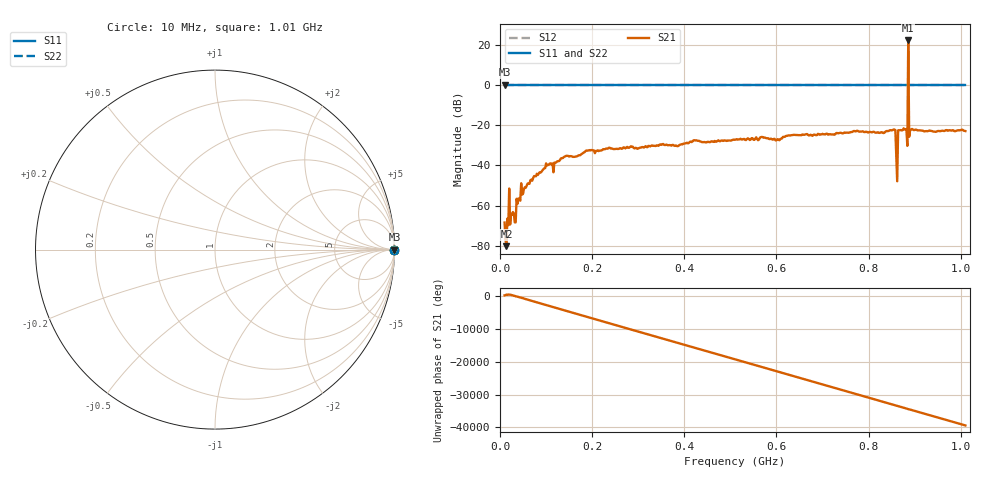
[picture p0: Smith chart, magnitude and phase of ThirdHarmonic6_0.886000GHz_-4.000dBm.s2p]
! 8/16/2025 5:08:39 AM
! C:\ANRITSUVNA\TEMP\TEMP.S2P
! CHANNEL.1
! TR.MEASUREMENT
! RAW.DATA
! RF.CORRECTION.OFF
! AVERAGING.OFF
! IF.BANDWIDTH: 5KHZ
! SWEEPTYPE:  FREQ.SWEEP(Linear)
! Reference Plane Port Info
! PORT:  PORT1  PORT2
! DISTANCE:  0  m  0  m
! TIME:  0  s  0  s
! PHASE.OFFSET:  0  deg.  0  deg.
! LOSS:  0  dB  0  dB
! REF.LOSS:  0  dB  0  dB
! REF.FREQ:  0  Hz  0  Hz
! Power Info
! POWER:  -20  dBm  -20  dBm
! EFF.POWER:  -20  dBm  -20  dBm
! SOURCE.ATTEN:  0  dB  0  dB
! TEST.ATTEN:  0  dB  0  dB
# GHZ S RI R 50.0
! FREQ.GHZ  S11RE  S11IM  S21RE  S21IM  S12RE  S12IM  S22RE  S22IM
!; PortSelection: Port_12
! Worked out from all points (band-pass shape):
!   501 points, 10 MHz to 1.01 GHz, reference 50 ohm
!   highest |S21| = 22.04 dB at 886 MHz (marker M1); lowest = -80.2 dB at 14 MHz (marker M2)
!   |S21| within 3 dB of the highest: 885.8855 MHz to 886.1254 MHz (239.9 kHz wide, 0.0271 % of centre)
!   lowest |S11| = 0.0 dB at 10 MHz (marker M3)
!   |S11| at or under -10 dB: nowhere
!   |S22| runs from 0.0 to 0.0 dB; largest |S21 - S12| = 13
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0.01  1 0  -0.000378 7.4e-06  1 0  1 0
0.014  1 0  8.07e-05 5.49e-05  1 0  1 0
0.02  1 0  0.002 0.00172  1 0  1 0
0.03  1 0  0.000291 0.000561  1 0  1 0
0.05  1 0  0.0011 0.00164  1 0  1 0
0.076  1 0  0.00533 0.000621  1 0  1 0
0.104  1 0  0.00601 -0.0082  1 0  1 0
0.178  1 0  -0.0187 -0.00455  1 0  1 0
0.344  1 0  0.03 -0.00468  1 0  1 0
0.51  1 0  -0.0413 0.0124  1 0  1 0
0.678  1 0  -0.0186 -0.0506  1 0  1 0
0.844  1 0  0.0424 0.0579  1 0  1 0
0.854  1 0  0.0765 0.0106  1 0  1 0
0.858  1 0  -0.0672 -0.033  1 0  1 0
0.862  1 0  0.00383 0.00119  1 0  1 0
0.868  1 0  -0.0709 0.0227  1 0  1 0
0.88  1 0  0.0581 0.0488  1 0  1 0
0.882  1 0  0.0607 -0.0513  1 0  1 0
0.886  1 0  -5.911 11.18  1 0  1 0
0.89  1 0  0.0732 -0.00631  1 0  1 0
0.892  1 0  0.00863 -0.0766  1 0  1 0
1.01  1 0  -0.0653 -0.0272  1 0  1 0
